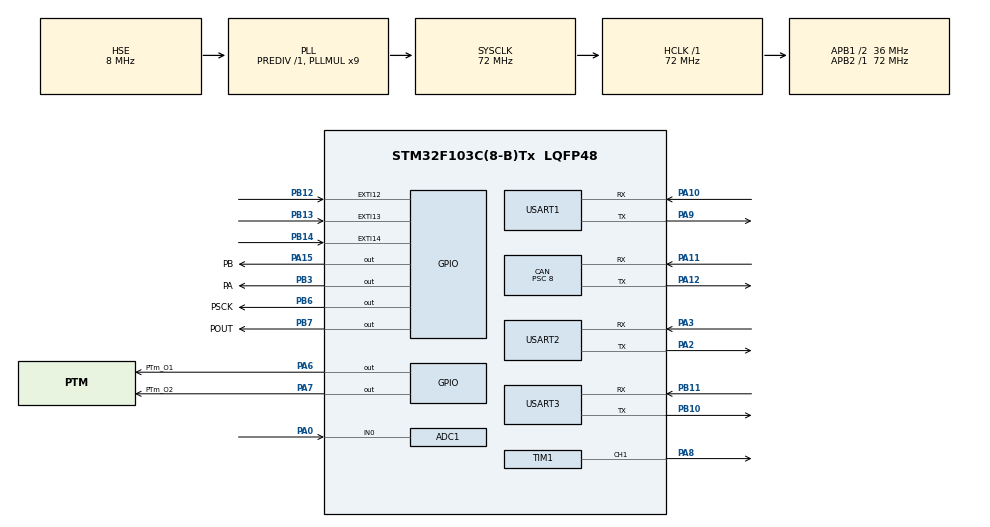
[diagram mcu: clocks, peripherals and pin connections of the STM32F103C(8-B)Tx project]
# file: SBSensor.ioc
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ADC1.Channel-0\#ChannelRegularConversion=ADC_CHANNEL_0
ADC1.ContinuousConvMode=ENABLE
ADC1.NbrOfConversionFlag=1
ADC1.Rank-0\#ChannelRegularConversion=1
ADC1.SamplingTime-0\#ChannelRegularConversion=ADC_SAMPLETIME_55CYCLES_5
ADC1.master=1
CAN.ABOM=ENABLE
CAN.BS1=CAN_BS1_12TQ
CAN.BS2=CAN_BS2_5TQ
CAN.CalculateBaudRate=250000
CAN.CalculateTimeBit=4000
CAN.CalculateTimeQuantum=222.22222222222223
CAN.NART=ENABLE
CAN.Prescaler=8
CAN.SJW=CAN_SJW_4TQ
Dma.ADC1.0.Direction=DMA_PERIPH_TO_MEMORY
Dma.ADC1.0.Instance=DMA1_Channel1
Dma.ADC1.0.MemDataAlignment=DMA_MDATAALIGN_HALFWORD
Dma.ADC1.0.MemInc=DMA_MINC_ENABLE
Dma.ADC1.0.Mode=DMA_CIRCULAR
Dma.ADC1.0.PeriphDataAlignment=DMA_PDATAALIGN_HALFWORD
Dma.ADC1.0.PeriphInc=DMA_PINC_DISABLE
Dma.ADC1.0.Priority=DMA_PRIORITY_LOW
Dma.Request0=ADC1
Mcu.Family=STM32F1
Mcu.Name=STM32F103C(8-B)Tx
Mcu.Package=LQFP48
NVIC.CAN1_RX1_IRQn=true\:0\:0\:true\:false\:true\:true\:true\:true
NVIC.CAN1_SCE_IRQn=true\:0\:0\:true\:false\:true\:true\:true\:true
NVIC.DMA1_Channel1_IRQn=true\:0\:0\:true\:false\:true\:false\:true\:true
NVIC.EXTI15_10_IRQn=true\:0\:0\:false\:false\:true\:true\:true\:true
NVIC.PriorityGroup=NVIC_PRIORITYGROUP_4
NVIC.TIM2_IRQn=true\:0\:0\:false\:false\:true\:true\:true\:true
NVIC.TIM4_IRQn=true\:0\:0\:true\:false\:true\:true\:true\:true
NVIC.USART1_IRQn=true\:0\:0\:true\:false\:true\:true\:true\:true
NVIC.USART2_IRQn=true\:0\:0\:false\:false\:true\:true\:true\:true
NVIC.USB_LP_CAN1_RX0_IRQn=true\:0\:0\:false\:false\:true\:true\:true\:true
PA0-WKUP.Signal=ADCx_IN0
PA10.Mode=Asynchronous
PA10.Signal=USART1_RX
PA11.Mode=CAN_Activate
PA11.Signal=CAN_RX
PA12.Mode=CAN_Activate
PA12.Signal=CAN_TX
PA13.Mode=Serial_Wire
PA13.Signal=SYS_JTMS-SWDIO
PA14.Mode=Serial_Wire
PA14.Signal=SYS_JTCK-SWCLK
PA15.GPIO_Label=PB
PA15.Signal=GPIO_Output
PA2.Mode=Asynchronous
PA2.Signal=USART2_TX
PA3.Mode=Asynchronous
PA3.Signal=USART2_RX
PA6.GPIO_Label=PTm_O1
PA6.Signal=GPIO_Output
PA7.GPIO_Label=PTm_O2
PA7.Signal=GPIO_Output
PA8.Signal=S_TIM1_CH1
PA9.Mode=Asynchronous
PA9.Signal=USART1_TX
PB10.Mode=Asynchronous
PB10.Signal=USART3_TX
PB11.Mode=Asynchronous
PB11.Signal=USART3_RX
PB12.GPIO_ModeDefaultEXTI=GPIO_MODE_IT_RISING_FALLING
PB12.Signal=GPXTI12
PB13.GPIO_ModeDefaultEXTI=GPIO_MODE_IT_RISING_FALLING
PB13.Signal=GPXTI13
PB14.GPIO_ModeDefaultEXTI=GPIO_MODE_IT_RISING_FALLING
PB14.Signal=GPXTI14
PB3.GPIO_Label=PA
PB3.Signal=GPIO_Output
PB6.GPIO_Label=PSCK
PB6.Signal=GPIO_Output
PB7.GPIO_Label=POUT
PB7.Signal=GPIO_Output
PD0-OSC_IN.Mode=HSE-External-Oscillator
PD0-OSC_IN.Signal=RCC_OSC_IN
PD1-OSC_OUT.Mode=HSE-External-Oscillator
PD1-OSC_OUT.Signal=RCC_OSC_OUT
ProjectManager.HeapSize=0x200
ProjectManager.StackSize=0x400
ProjectManager.TargetToolchain=STM32CubeIDE
RCC.ADCPresc=RCC_ADCPCLK2_DIV6
RCC.AHBFreq_Value=72000000
RCC.APB1CLKDivider=RCC_HCLK_DIV2
RCC.APB1Freq_Value=36000000
RCC.APB1TimFreq_Value=72000000
RCC.APB2Freq_Value=72000000
RCC.APB2TimFreq_Value=72000000
RCC.HCLKFreq_Value=72000000
RCC.PLLMUL=RCC_PLL_MUL9
RCC.PLLSourceVirtual=RCC_PLLSOURCE_HSE
RCC.SYSCLKFreq_VALUE=72000000
RCC.SYSCLKSource=RCC_SYSCLKSOURCE_PLLCLK
RCC.USBFreq_Value=72000000
SH.ADCx_IN0.0=ADC1_IN0,IN0
SH.S_TIM1_CH1.0=TIM1_CH1,PWM Generation1 CH1
TIM1.Channel-PWM\ Generation1\ CH1=TIM_CHANNEL_1
TIM1.Channel-PWM\ Generation4\ CH4=TIM_CHANNEL_4
TIM1.Period=3599
TIM1.Prescaler=1
TIM2.AutoReloadPreload=TIM_AUTORELOAD_PRELOAD_ENABLE
TIM2.Period=999
TIM2.Prescaler=719
TIM4.AutoReloadPreload=TIM_AUTORELOAD_PRELOAD_ENABLE
TIM4.Period=65535
TIM4.Prescaler=71
USART1.VirtualMode=VM_ASYNC
USART2.VirtualMode=VM_ASYNC
USART3.VirtualMode=VM_ASYNC
VP_TIM2_VS_ClockSourceINT.Mode=Internal
VP_TIM4_VS_ClockSourceINT.Mode=Internal
board=custom

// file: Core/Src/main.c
/* USER CODE BEGIN Header */
/**
  ******************************************************************************
  * @file           : main.c
  * @brief          : Main program body
  ******************************************************************************
  * @attention
  *
  * Copyright (c) 2025 STMicroelectronics.
  * All rights reserved.
  *
  * This software is licensed under terms that can be found in the LICENSE file
  * in the root directory of this software component.
  * If no LICENSE file comes with this software, it is provided AS-IS.
  *
  ******************************************************************************
  */
/* USER CODE END Header */
#include "main.h"
#include "adc.h"
#include "can.h"
#include "dma.h"
#include "tim.h"
#include "usart.h"
#include "gpio.h"

/* USER CODE BEGIN Includes */
#include "ndsconf.h"
#include "process.h"
#include "modbus.h"
#include "hx711.h"
#include "tof.h"
/* USER CODE END Includes */

/* USER CODE BEGIN PD */
extern hx711_t g_hx711;
/* USER CODE END PD */

void SystemClock_Config(void);

int main(void)
{

  /* MCU Configuration--------------------------------------------------------*/

  /* Reset of all peripherals, Initializes the Flash interface and the Systick. */
  HAL_Init();

  /* Configure the system clock */
  SystemClock_Config();

  /* USER CODE BEGIN SysInit */
  CONF_init();

  //__enable_irq();
  HAL_Delay(20);
  /* USER CODE END SysInit */

  /* Initialize all configured peripherals */
  MX_GPIO_Init();
  MX_DMA_Init();
  MX_ADC1_Init();
  MX_CAN_Init();
  MX_TIM4_Init();
  MX_TIM1_Init();
  MX_USART1_UART_Init();
  MX_USART2_UART_Init();
  MX_USART3_UART_Init();
  MX_TIM2_Init();
  /* USER CODE BEGIN 2 */

  CONF_load();

  // 开始始定时器，用于HX711的clk时序
  HAL_TIM_Base_Start(&htim4);

  HAL_Delay(10);

  hx711_init(&g_hx711, PSCK_GPIO_Port, PSCK_Pin, POUT_GPIO_Port, POUT_Pin);

  Proc_init();

  Modbus_init();

  TOF_init();
  /* USER CODE END 2 */

  /* Infinite loop */
  /* USER CODE BEGIN WHILE */
  while (1)
  {
	hx711_proc();

	Modbus_proc();

	TOF_proc();

	Proc_loop();
    /* USER CODE END WHILE */

    /* USER CODE BEGIN 3 */
	HAL_Delay(8);
  }
  /* USER CODE END 3 */
}

void SystemClock_Config(void)
{
  RCC_OscInitTypeDef RCC_OscInitStruct = {0};
  RCC_ClkInitTypeDef RCC_ClkInitStruct = {0};
  RCC_PeriphCLKInitTypeDef PeriphClkInit = {0};

  /** Initializes the RCC Oscillators according to the specified parameters
  * in the RCC_OscInitTypeDef structure.
  */
  RCC_OscInitStruct.OscillatorType = RCC_OSCILLATORTYPE_HSE;
  RCC_OscInitStruct.HSEState = RCC_HSE_ON;
  RCC_OscInitStruct.HSEPredivValue = RCC_HSE_PREDIV_DIV1;
  RCC_OscInitStruct.HSIState = RCC_HSI_ON;
  RCC_OscInitStruct.PLL.PLLState = RCC_PLL_ON;
  RCC_OscInitStruct.PLL.PLLSource = RCC_PLLSOURCE_HSE;
  RCC_OscInitStruct.PLL.PLLMUL = RCC_PLL_MUL9;
  if (HAL_RCC_OscConfig(&RCC_OscInitStruct) != HAL_OK)
  {
    Error_Handler();
  }

  /** Initializes the CPU, AHB and APB buses clocks
  */
  RCC_ClkInitStruct.ClockType = RCC_CLOCKTYPE_HCLK|RCC_CLOCKTYPE_SYSCLK
                              |RCC_CLOCKTYPE_PCLK1|RCC_CLOCKTYPE_PCLK2;
  RCC_ClkInitStruct.SYSCLKSource = RCC_SYSCLKSOURCE_PLLCLK;
  RCC_ClkInitStruct.AHBCLKDivider = RCC_SYSCLK_DIV1;
  RCC_ClkInitStruct.APB1CLKDivider = RCC_HCLK_DIV2;
  RCC_ClkInitStruct.APB2CLKDivider = RCC_HCLK_DIV1;

  if (HAL_RCC_ClockConfig(&RCC_ClkInitStruct, FLASH_LATENCY_2) != HAL_OK)
  {
    Error_Handler();
  }
  PeriphClkInit.PeriphClockSelection = RCC_PERIPHCLK_ADC;
  PeriphClkInit.AdcClockSelection = RCC_ADCPCLK2_DIV6;
  if (HAL_RCCEx_PeriphCLKConfig(&PeriphClkInit) != HAL_OK)
  {
    Error_Handler();
  }
}

void Error_Handler(void)
{
  __disable_irq();
  while (1)
  {
  }
}
